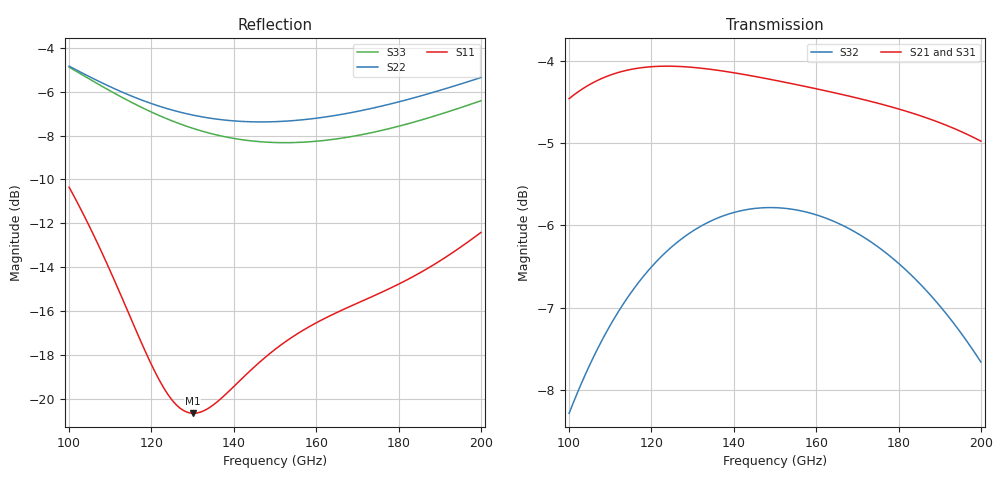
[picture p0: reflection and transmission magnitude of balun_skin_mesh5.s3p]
! Created with skrf 2.2.0 (http://scikit-rf.org).
# GHz S DB R 50.0
! Port[1] = P1
! Port[2] = P2
! Port[3] = P3
!freq dBS11 angS11 dBS12 angS12 dBS13 angS13
! dBS21 angS21 dBS22 angS22 dBS23 angS23
! dBS31 angS31 dBS32 angS32 dBS33 angS33
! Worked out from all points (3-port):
!   101 points, 100 GHz to 200 GHz, reference 50 ohm
!   strongest paths, dB at 100 GHz, 125 GHz, 150 GHz, 175 GHz, 200 GHz:
!     S21: -4.5, -4.1, -4.2, -4.5, -5.0
!     S31: -4.8, -4.2, -4.3, -4.4, -4.5
!     S32: -8.3, -6.3, -5.8, -6.3, -7.7
!   lowest |S11| = -20.7 dB at 130 GHz (marker M1), VSWR 1.20, Z = 41.7 + j1.74 ohm
!   |S11| at or under -10 dB: start of sweep to end of sweep
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100  -10.35 132.9  -4.46 -15.9  -4.77 159.8
     -4.46 -15.9  -4.83 59.7  -8.28 89.4
     -4.77 159.8  -8.28 89.4  -4.87 48.0
110  -14.18 128.9  -4.17 -31.7  -4.42 142.8
     -4.17 -31.7  -5.77 50.9  -7.21 73.5
     -4.42 142.8  -7.21 73.5  -5.96 37.3
122  -19.19 143.4  -4.07 -49.2  -4.24 124.0
     -4.07 -49.2  -6.66 41.9  -6.40 55.6
     -4.24 124.0  -6.40 55.6  -7.09 26.5
130  -20.67 167.0  -4.08 -59.9  -4.21 112.4
     -4.08 -59.9  -7.06 36.4  -6.07 44.5
     -4.21 112.4  -6.07 44.5  -7.66 20.1
140  -19.45 -170.5  -4.15 -72.6  -4.22 98.7
     -4.15 -72.6  -7.33 29.5  -5.84 31.3
     -4.22 98.7  -5.84 31.3  -8.13 12.6
150  -17.75 -161.7  -4.24 -84.7  -4.25 85.7
     -4.24 -84.7  -7.36 22.2  -5.79 18.8
     -4.25 85.7  -5.79 18.8  -8.31 5.1
161  -16.44 -158.1  -4.35 -97.6  -4.30 71.9
     -4.35 -97.6  -7.18 13.6  -5.89 5.5
     -4.30 71.9  -5.89 5.5  -8.24 -3.4
173  -15.39 -155.4  -4.49 -111.4  -4.35 57.1
     -4.49 -111.4  -6.77 3.2  -6.19 -8.6
     -4.35 57.1  -6.19 -8.6  -7.88 -13.3
187  -14.06 -152.4  -4.70 -127.8  -4.42 39.9
     -4.70 -127.8  -6.10 -9.9  -6.81 -24.9
     -4.42 39.9  -6.81 -24.9  -7.20 -25.7
200  -12.42 -151.6  -4.98 -143.3  -4.52 23.5
     -4.98 -143.3  -5.35 -22.9  -7.66 -40.1
     -4.52 23.5  -7.66 -40.1  -6.41 -38.1
